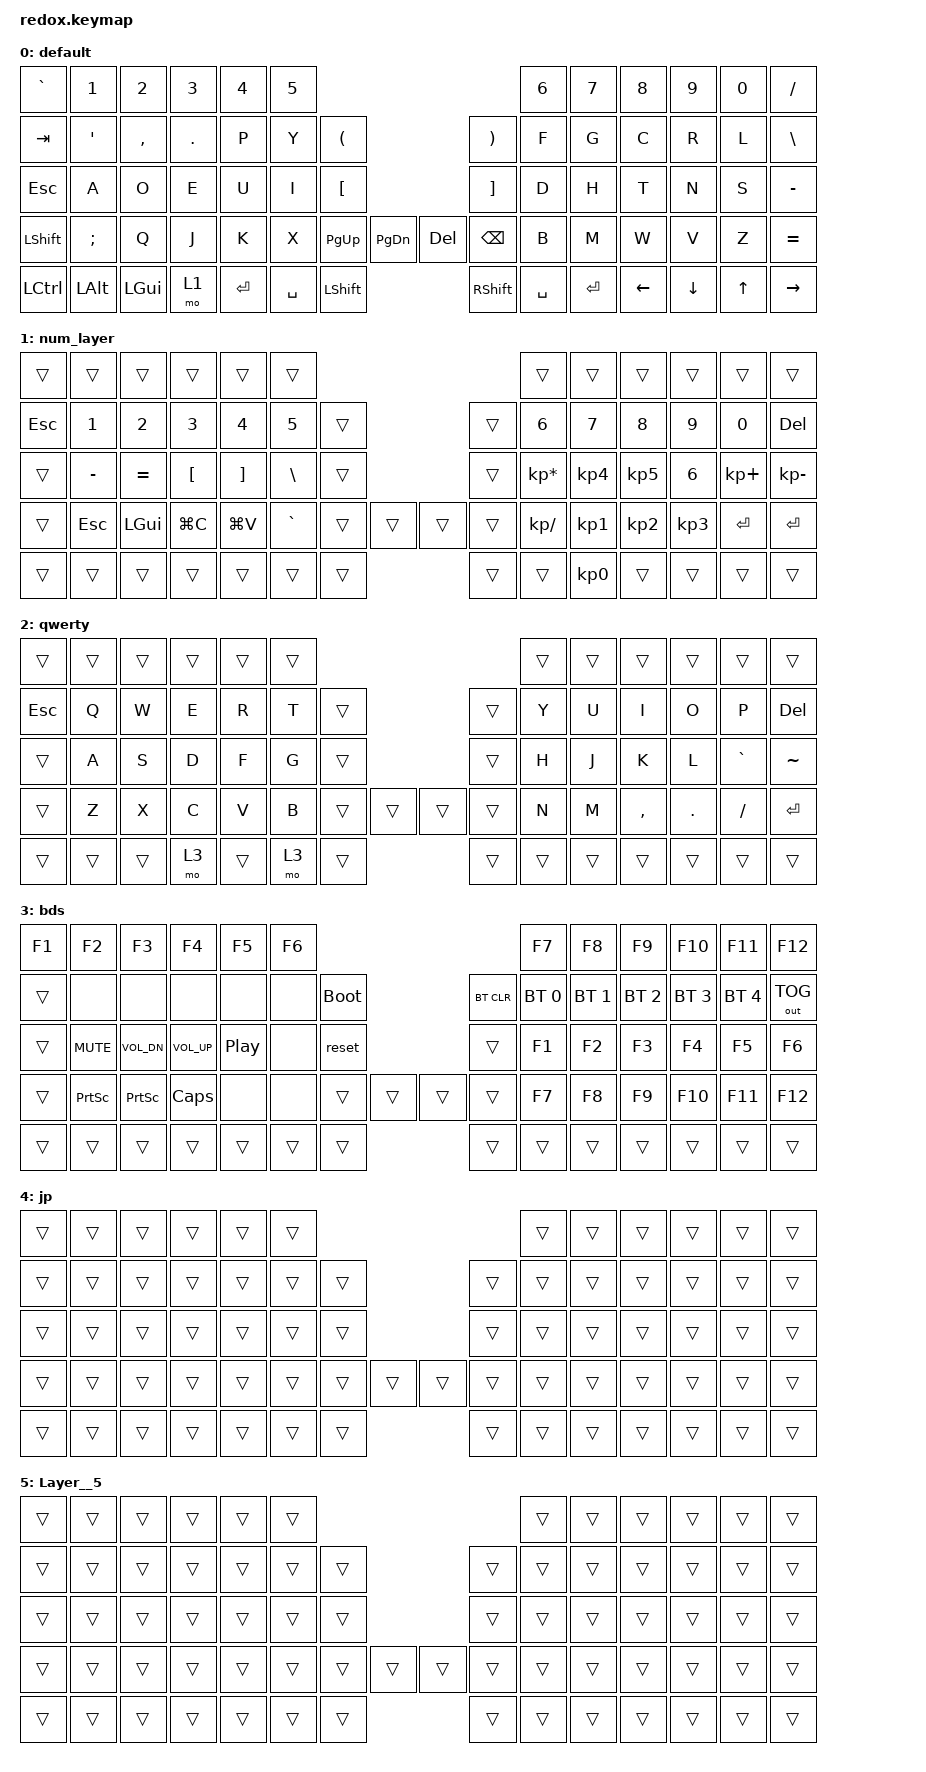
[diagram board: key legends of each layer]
/*
 * Copyright (c) 2021 The ZMK Contributors
 *
 * SPDX-License-Identifier: MIT
 */

#include <behaviors.dtsi>
#include <dt-bindings/zmk/keys.h>
#include <dt-bindings/zmk/bt.h>
#include <dt-bindings/zmk/outputs.h>

/ {
    keymap {
        compatible = "zmk,keymap";

        default {
            // --------------------------------------------------------------------------------------------------------------------------------
            // | ESC   |  1  |  2  |   3   |  4  |  5  |                   ---                |  6    |  7    |  8    |  9   | 0  |    BKSP   |
            // | TAB   |  Q  |  W  |   E   |  R  |  T  |   (   |           ---        |  )    |  Y    |  U    |  I    |  O   | P  |     -     |
            // | CTRL  |  A  |  S  |   D   |  F  |  G  |   [   |           ---        |  ]    |  H    |  J    |  K    |  L   | ;  |     '     |
            // | SHIFT |  Z  |  X  |   C   |  V  |  B  | PG_UP | PG_DOWN | --- | HOME | END   |  N    |  M    |  ,    |  .   | /  | SHFT(RET) |
            // | CRTL  | ALT | GUI | LOWER |    GUI    | LOWER | SPACE   | --- | DEL  | SPACE |     RAISE     | LEFT  | DOWN | UP |   RIGHT   |

            bindings = <
&kp GRAVE    &kp N1     &kp N2      &kp N3  &kp N4     &kp N5                                                             &kp N6             &kp N7    &kp N8    &kp N9  &kp N0      &kp SLASH
  &kp TAB  &kp APOS  &kp COMMA  &kp PERIOD   &kp P      &kp Y   &kp LPAR                                        &kp RPAR   &kp F              &kp G     &kp C     &kp R   &kp L  &kp BACKSLASH
  &kp ESC     &kp A      &kp O       &kp E   &kp U      &kp I   &kp LBKT                                        &kp RBKT   &kp D              &kp H     &kp T     &kp N   &kp S      &kp MINUS
&kp LSHFT  &kp SEMI      &kp Q       &kp J   &kp K      &kp X  &kp PG_UP       &kp PG_DN          &kp DEL  &kp BACKSPACE   &kp B              &kp M     &kp W     &kp V   &kp Z      &kp EQUAL
&kp LCTRL  &kp LALT   &kp LGUI       &mo 1          &kp ENTER  &kp SPACE  &kp LEFT_SHIFT  &kp RIGHT_SHIFT      &kp SPACE          &kp ENTER          &kp LEFT  &kp DOWN  &kp UP      &kp RIGHT
            >;
        };

        num_layer {
            // --------------------------------------------------------------------------------------------------------------------------
            // | ESC   |  1  |  2  |   3   |   4   |  5  |                   ---              |  6  |  7  |   8  |  9   |  0  |  DEL  |
            // | ESC   |  1  |  2  |   3   |   4   |  5  |   (   |           ---        |  )  |  6  |  7  |   8  |  9   |  0  |  DEL  |
            // | CTRL  |  -  |  =  |   [   |   ]   |  \  |   [   |           ---        |  ]  |  *  |  4  |   5  |  6   |  +  |   -   |
            // | SHIFT | ESC | GUI | COPY  | PASTE |     | PG_UP | PG_DOWN | --- | HOME | END |  \  |  1  |   2  |  3   | RET |  RET  |
            // | CRTL  | ALT | GUI | LOWER |     GUI     | LOWER | SPACE   | --- | DEL  |  0  |    RAISE  | LEFT | DOWN | UP  | RIGHT |

            bindings = <
 &trans     &trans     &trans     &trans     &trans     &trans                                           &trans                      &trans     &trans     &trans       &trans        &trans
&kp ESC     &kp N1     &kp N2     &kp N3     &kp N4     &kp N5  &trans                  &trans           &kp N6                      &kp N7     &kp N8     &kp N9       &kp N0       &kp DEL
 &trans  &kp MINUS  &kp EQUAL   &kp LBKT   &kp RBKT   &kp BSLH  &trans                  &trans  &kp KP_MULTIPLY                   &kp KP_N4  &kp KP_N5     &kp N6  &kp KP_PLUS  &kp KP_MINUS
 &trans    &kp ESC   &kp LGUI  &kp LG(C)  &kp LG(V)  &kp GRAVE  &trans  &trans  &trans  &trans    &kp KP_DIVIDE                   &kp KP_N1  &kp KP_N2  &kp KP_N3      &kp RET       &kp RET
 &trans     &trans     &trans     &trans                &trans  &trans  &trans  &trans  &trans                   &kp KP_NUMBER_0                &trans     &trans       &trans        &trans
            >;
        };

        qwerty {
            // ----------------------------------------------------------------------------------------------------------------------------
            // | ESC   |  1  |  2  |   3   |  4  |  5  |                   ---                |  6   |  7   |  8   |  9   |  0    |  DEL  |
            // | ESC   |  !  |  @  |   #   |  $  |  %  |   (   |           ---        |  )    |  ^   |  &   |  *   |  (   |  )    |  DEL  |
            // | CTRL  |  _  |  +  |   {   |  }  | "|" |   [   |           ---        |  ]    | HOME | PGUP | PRSC | UP   |  `    |   ~   |
            // | SHIFT | ESC | GUI |   (   |  )  |     | PG_UP | PG_DOWN | --- | HOME | END   | END  | PGDN | LEFT | DOWN | RIGHT |  RET  |
            // | CRTL  | ALT | GUI | LOWER |    GUI    | LOWER | SPACE   | --- | DEL  | SPACE |    RAISE    | LEFT | DOWN | UP    | RIGHT |

            bindings = <
 &trans  &trans  &trans  &trans  &trans  &trans                                  &trans          &trans     &trans      &trans     &trans     &trans
&kp ESC   &kp Q   &kp W   &kp E   &kp R   &kp T  &trans                  &trans   &kp Y           &kp U      &kp I       &kp O      &kp P    &kp DEL
 &trans   &kp A   &kp S   &kp D   &kp F   &kp G  &trans                  &trans   &kp H           &kp J      &kp K       &kp L  &kp GRAVE  &kp TILDE
 &trans   &kp Z   &kp X   &kp C   &kp V   &kp B  &trans  &trans  &trans  &trans   &kp N           &kp M  &kp COMMA  &kp PERIOD  &kp SLASH    &kp RET
 &trans  &trans  &trans   &mo 3          &trans   &mo 3  &trans  &trans  &trans          &trans             &trans      &trans     &trans     &trans
            >;
        };

        bds {
            // -----------------------------------------------------------------------------------------
            // |  F1   |  F2   |    F3    |    F4     |     F5     | F6 |                   ---                | F7  | F8  |  F9  |  F10 | F11 | F12        |
            // | TAB   |       |          |           |            |    | BOOTL |           ---        |  )    | BT1 | BT2 |  BT3 |  BT4 | BT5 | OUTPUT TGL |
            // | CTRL  | MUTE  |  Vol Dn  |  Vol Up   | Play/Pause |    | RESET |           ---        |  ]    | F1  | F2  |  F3  |  F4  | F5  | F6         |
            // | SHIFT | PSCRN |  PSCRN   |   CAPS    |            |    | PG_UP | PG_DOWN | --- | HOME | END   | F7  | F8  |  F9  |  F10 | F11 | F12        |
            // | CRTL  | ALT   |  GUI     |   LOWER   |      GUI        | LOWER | SPACE   | --- | DEL  | SPACE |   RAISE   | LEFT | DOWN | UP  |   RIGHT    |

            bindings = <
&kp F1      &kp F2        &kp F3        &kp F4            &kp F5  &kp F6                                                 &kp F7                &kp F8        &kp F9       &kp F10       &kp F11       &kp F12
&trans       &none         &none         &none             &none   &none  &bootloader                  &bt BT_CLR  &bt BT_SEL 0          &bt BT_SEL 1  &bt BT_SEL 2  &bt BT_SEL 3  &bt BT_SEL 4  &out OUT_TOG
&trans  &kp K_MUTE  &kp C_VOL_DN  &kp C_VOL_UP  &kp C_PLAY_PAUSE   &none       &reset                      &trans        &kp F1                &kp F2        &kp F3        &kp F4        &kp F5        &kp F6
&trans   &kp PSCRN     &kp PSCRN      &kp CLCK             &none   &none       &trans  &trans  &trans      &trans        &kp F7                &kp F8        &kp F9       &kp F10       &kp F11       &kp F12
&trans      &trans        &trans        &trans                    &trans       &trans  &trans  &trans      &trans                &trans                      &trans        &trans        &trans        &trans
            >;
        };

        jp {
            bindings = <
&trans  &trans  &trans  &trans  &trans  &trans                                  &trans          &trans  &trans  &trans  &trans  &trans
&trans  &trans  &trans  &trans  &trans  &trans  &trans                  &trans  &trans          &trans  &trans  &trans  &trans  &trans
&trans  &trans  &trans  &trans  &trans  &trans  &trans                  &trans  &trans          &trans  &trans  &trans  &trans  &trans
&trans  &trans  &trans  &trans  &trans  &trans  &trans  &trans  &trans  &trans  &trans          &trans  &trans  &trans  &trans  &trans
&trans  &trans  &trans  &trans          &trans  &trans  &trans  &trans  &trans          &trans          &trans  &trans  &trans  &trans
            >;
        };

        Layer__5 {
            bindings = <
&trans  &trans  &trans  &trans  &trans  &trans                                  &trans          &trans  &trans  &trans  &trans  &trans
&trans  &trans  &trans  &trans  &trans  &trans  &trans                  &trans  &trans          &trans  &trans  &trans  &trans  &trans
&trans  &trans  &trans  &trans  &trans  &trans  &trans                  &trans  &trans          &trans  &trans  &trans  &trans  &trans
&trans  &trans  &trans  &trans  &trans  &trans  &trans  &trans  &trans  &trans  &trans          &trans  &trans  &trans  &trans  &trans
&trans  &trans  &trans  &trans          &trans  &trans  &trans  &trans  &trans          &trans          &trans  &trans  &trans  &trans
            >;
        };
    };
};
